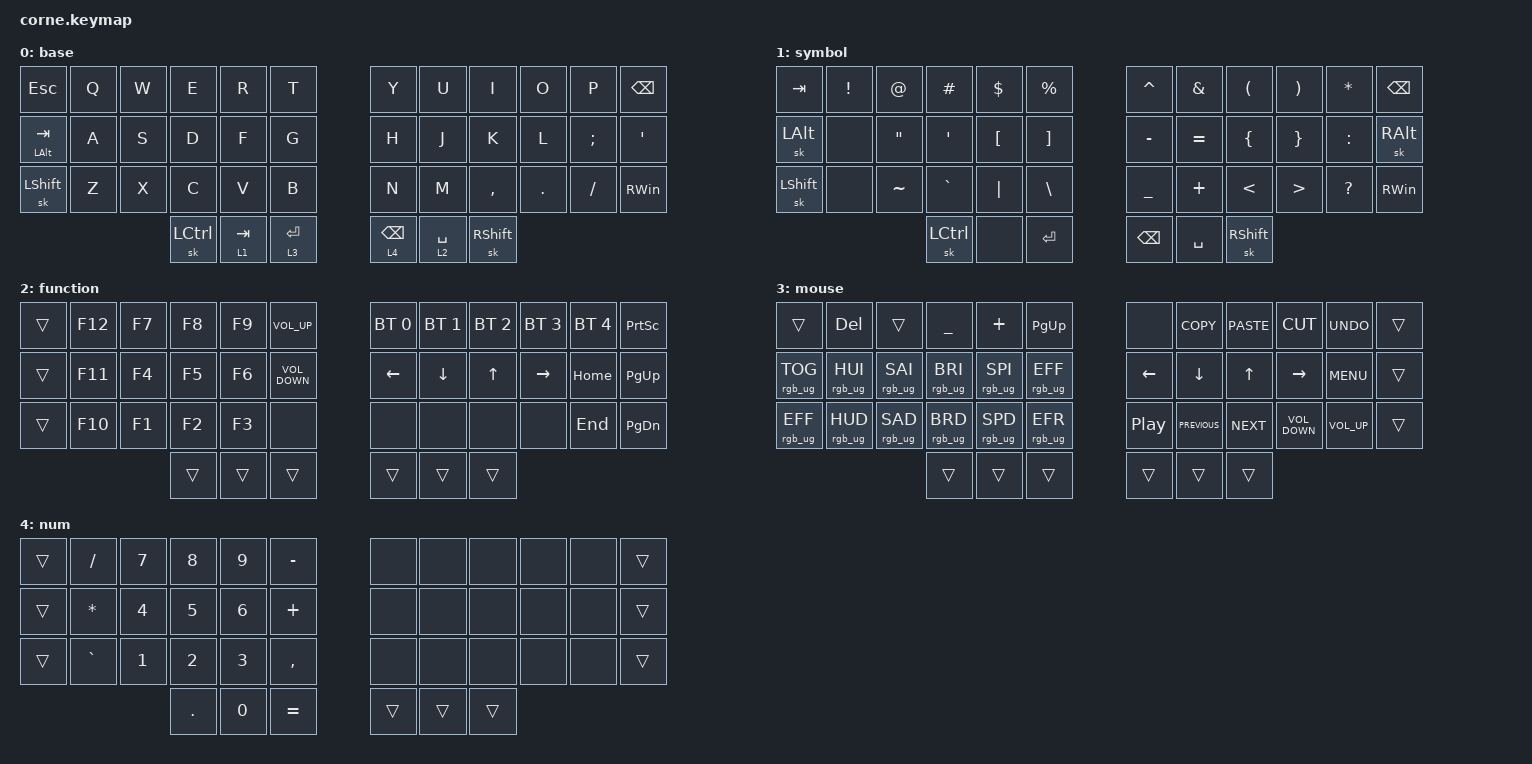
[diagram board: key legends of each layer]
/*
 * Copyright 2024 Michał Minarowski (@n3oney)
 * 
 * Originally created for QMK by Mark Stosberg (@markstos)
 * 
 * SPDX-License-Identifier: GPL-2.0-or-later
 */

#include <behaviors.dtsi>
#include <dt-bindings/zmk/bt.h>
#include <dt-bindings/zmk/keys.h>
#include <dt-bindings/zmk/rgb.h>

/ {
    combos { compatible = "zmk,combos"; };

    keymap {
        compatible = "zmk,keymap";

        base {
            bindings = <
&kp ESC       &kp Q  &kp W  &kp E      &kp R      &kp T          &kp Y            &kp U        &kp I            &kp O    &kp P     &kp BACKSPACE
&mt LALT TAB  &kp A  &kp S  &kp D      &kp F      &kp G          &kp H            &kp J        &kp K            &kp L    &kp SEMI  &kp SINGLE_QUOTE
&sk LSHFT     &kp Z  &kp X  &kp C      &kp V      &kp B          &kp N            &kp M        &kp COMMA        &kp DOT  &kp FSLH  &kp RIGHT_WIN
                            &sk LCTRL  &lt 1 TAB  &lt 3 ENTER    &lt 4 BACKSPACE  &lt 2 SPACE  &sk RIGHT_SHIFT
            >;
        };

        symbol {
            bindings = <
&kp TAB    &kp EXCLAMATION  &kp AT_SIGN        &kp HASH          &kp DOLLAR        &kp PERCENT          &kp CARET       &kp AMPERSAND  &kp LEFT_PARENTHESIS  &kp RIGHT_PARENTHESIS  &kp ASTERISK  &kp BACKSPACE
&sk LALT   &none            &kp DOUBLE_QUOTES  &kp SINGLE_QUOTE  &kp LEFT_BRACKET  &kp RIGHT_BRACKET    &kp MINUS       &kp EQUAL      &kp LEFT_BRACE        &kp RIGHT_BRACE        &kp COLON     &sk RIGHT_ALT
&sk LSHFT  &none            &kp TILDE          &kp GRAVE         &kp PIPE          &kp BACKSLASH        &kp UNDERSCORE  &kp PLUS       &kp LESS_THAN         &kp GREATER_THAN       &kp QUESTION  &kp RIGHT_WIN
                                               &sk LCTRL         &none             &kp ENTER            &kp BACKSPACE   &kp SPACE      &sk RIGHT_SHIFT
            >;
        };

        function {
            bindings = <
&trans  &kp F12  &kp F7  &kp F8  &kp F9  &kp C_VOLUME_UP      &bt BT_SEL 0  &bt BT_SEL 1    &bt BT_SEL 2  &bt BT_SEL 3  &bt BT_SEL 4  &kp PRINTSCREEN
&trans  &kp F11  &kp F4  &kp F5  &kp F6  &kp C_VOLUME_DOWN    &kp LEFT      &kp DOWN_ARROW  &kp UP_ARROW  &kp RIGHT     &kp HOME      &kp PG_UP
&trans  &kp F10  &kp F1  &kp F2  &kp F3  &none                &none         &none           &none         &none         &kp END       &kp PAGE_DOWN
                         &trans  &trans  &trans               &trans        &trans          &trans
            >;
        };

        mouse {
            bindings = <
&trans           &kp DELETE       &trans           &kp UNDERSCORE   &kp PLUS         &kp PAGE_UP        &none             &kp K_COPY      &kp K_PASTE   &kp K_CUT          &kp K_UNDO       &trans
&rgb_ug RGB_TOG  &rgb_ug RGB_HUI  &rgb_ug RGB_SAI  &rgb_ug RGB_BRI  &rgb_ug RGB_SPI  &rgb_ug RGB_EFF    &kp LEFT          &kp DOWN        &kp UP_ARROW  &kp RIGHT          &kp K_MENU       &trans
&rgb_ug RGB_EFF  &rgb_ug RGB_HUD  &rgb_ug RGB_SAD  &rgb_ug RGB_BRD  &rgb_ug RGB_SPD  &rgb_ug RGB_EFR    &kp C_PLAY_PAUSE  &kp C_PREVIOUS  &kp C_NEXT    &kp C_VOLUME_DOWN  &kp C_VOLUME_UP  &trans
                                                   &trans           &trans           &trans             &trans            &trans          &trans
            >;
        };

        num {
            bindings = <
&trans  &kp SLASH     &kp NUMBER_7  &kp NUMBER_8  &kp NUMBER_9  &kp MINUS    &none   &none   &none   &none  &none  &trans
&trans  &kp ASTERISK  &kp NUMBER_4  &kp NUMBER_5  &kp NUMBER_6  &kp PLUS     &none   &none   &none   &none  &none  &trans
&trans  &kp GRAVE     &kp NUMBER_1  &kp NUMBER_2  &kp NUMBER_3  &kp COMMA    &none   &none   &none   &none  &none  &trans
                                    &kp DOT       &kp N0        &kp EQUAL    &trans  &trans  &trans
            >;
        };
    };
};
